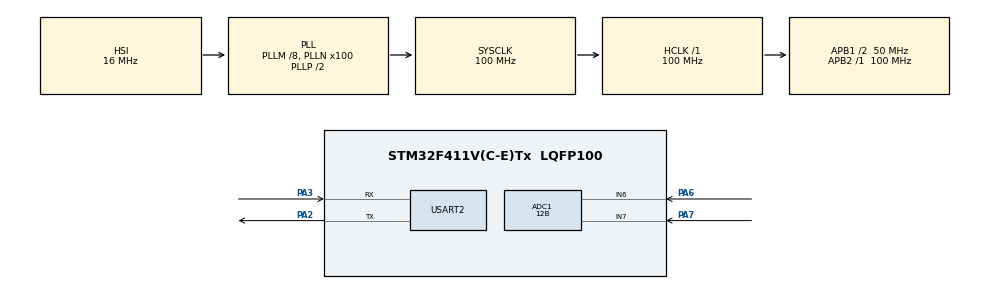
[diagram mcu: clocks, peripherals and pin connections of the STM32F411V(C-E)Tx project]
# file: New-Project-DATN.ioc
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ADC1.Channel-0\#ChannelRegularConversion=ADC_CHANNEL_6
ADC1.ClockPrescaler=ADC_CLOCK_SYNC_PCLK_DIV4
ADC1.ContinuousConvMode=DISABLE
ADC1.DMAContinuousRequests=ENABLE
ADC1.DataAlign=ADC_DATAALIGN_RIGHT
ADC1.DiscontinuousConvMode=DISABLE
ADC1.EOCSelection=ADC_EOC_SINGLE_CONV
ADC1.EnableAnalogWatchDog=false
ADC1.ExternalTrigConv=ADC_SOFTWARE_START
ADC1.ExternalTrigConvEdge=ADC_EXTERNALTRIGCONVEDGE_NONE
ADC1.InjNumberOfConversion=0
ADC1.NbrOfConversion=1
ADC1.NbrOfConversionFlag=1
ADC1.Rank-0\#ChannelRegularConversion=1
ADC1.Resolution=ADC_RESOLUTION_12B
ADC1.SamplingTime-0\#ChannelRegularConversion=ADC_SAMPLETIME_3CYCLES
ADC1.ScanConvMode=ENABLE
ADC1.master=1
Dma.ADC1.0.Direction=DMA_PERIPH_TO_MEMORY
Dma.ADC1.0.FIFOMode=DMA_FIFOMODE_DISABLE
Dma.ADC1.0.Instance=DMA2_Stream0
Dma.ADC1.0.MemDataAlignment=DMA_MDATAALIGN_HALFWORD
Dma.ADC1.0.MemInc=DMA_MINC_ENABLE
Dma.ADC1.0.Mode=DMA_NORMAL
Dma.ADC1.0.PeriphDataAlignment=DMA_PDATAALIGN_HALFWORD
Dma.ADC1.0.PeriphInc=DMA_PINC_DISABLE
Dma.ADC1.0.Priority=DMA_PRIORITY_LOW
Dma.Request0=ADC1
Mcu.Family=STM32F4
Mcu.Name=STM32F411V(C-E)Tx
Mcu.Package=LQFP100
NVIC.ADC_IRQn=true\:0\:0\:false\:false\:true
NVIC.DMA2_Stream0_IRQn=true\:0\:0\:false\:false\:true
NVIC.PriorityGroup=NVIC_PRIORITYGROUP_4
NVIC.TIM2_IRQn=true\:0\:0\:false\:false\:true
NVIC.USART2_IRQn=true\:0\:0\:false\:false\:true
PA13.Mode=Serial_Wire
PA13.Signal=SYS_JTMS-SWDIO
PA14.Mode=Serial_Wire
PA14.Signal=SYS_JTCK-SWCLK
PA2.Mode=Asynchronous
PA2.Signal=USART2_TX
PA3.Mode=Asynchronous
PA3.Signal=USART2_RX
PA6.Signal=ADCx_IN6
PA7.Signal=ADCx_IN7
PH0\ -\ OSC_IN.Mode=HSE-External-Oscillator
PH0\ -\ OSC_IN.Signal=RCC_OSC_IN
PH1\ -\ OSC_OUT.Mode=HSE-External-Oscillator
PH1\ -\ OSC_OUT.Signal=RCC_OSC_OUT
ProjectManager.HeapSize=0x200
ProjectManager.StackSize=0x400
ProjectManager.TargetToolchain=MDK-ARM V5
RCC.48MHZClocksFreq_Value=50000000
RCC.AHBFreq_Value=100000000
RCC.APB1CLKDivider=RCC_HCLK_DIV2
RCC.APB1Freq_Value=50000000
RCC.APB1TimFreq_Value=100000000
RCC.APB2Freq_Value=100000000
RCC.APB2TimFreq_Value=100000000
RCC.CortexFreq_Value=100000000
RCC.HCLKFreq_Value=100000000
RCC.HSE_VALUE=25000000
RCC.HSI_VALUE=16000000
RCC.LSE_VALUE=32768
RCC.PLLM=8
RCC.PLLN=100
RCC.SYSCLKFreq_VALUE=100000000
RCC.SYSCLKSource=RCC_SYSCLKSOURCE_PLLCLK
RCC.VCOOutputFreq_Value=200000000
SH.ADCx_IN6.0=ADC1_IN6,IN6
SH.ADCx_IN7.0=ADC1_IN7,IN7
TIM2.Period=1
TIM2.Prescaler=50
VP_TIM2_VS_ClockSourceINT.Mode=Internal
board=New-Project-DATN

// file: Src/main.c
/**
  ******************************************************************************
  * File Name          : main.c
  * Description        : Main program body
  ******************************************************************************
  *
  * COPYRIGHT(c) 2017 STMicroelectronics
  *
  * Redistribution and use in source and binary forms, with or without modification,
  * are permitted provided that the following conditions are met:
  *   1. Redistributions of source code must retain the above copyright notice,
  *      this list of conditions and the following disclaimer.
  *   2. Redistributions in binary form must reproduce the above copyright notice,
  *      this list of conditions and the following disclaimer in the documentation
  *      and/or other materials provided with the distribution.
  *   3. Neither the name of STMicroelectronics nor the names of its contributors
  *      may be used to endorse or promote products derived from this software
  *      without specific prior written permission.
  *
  * THIS SOFTWARE IS PROVIDED BY THE COPYRIGHT HOLDERS AND CONTRIBUTORS "AS IS"
  * AND ANY EXPRESS OR IMPLIED WARRANTIES, INCLUDING, BUT NOT LIMITED TO, THE
  * IMPLIED WARRANTIES OF MERCHANTABILITY AND FITNESS FOR A PARTICULAR PURPOSE ARE
  * DISCLAIMED. IN NO EVENT SHALL THE COPYRIGHT HOLDER OR CONTRIBUTORS BE LIABLE
  * FOR ANY DIRECT, INDIRECT, INCIDENTAL, SPECIAL, EXEMPLARY, OR CONSEQUENTIAL
  * DAMAGES (INCLUDING, BUT NOT LIMITED TO, PROCUREMENT OF SUBSTITUTE GOODS OR
  * SERVICES; LOSS OF USE, DATA, OR PROFITS; OR BUSINESS INTERRUPTION) HOWEVER
  * CAUSED AND ON ANY THEORY OF LIABILITY, WHETHER IN CONTRACT, STRICT LIABILITY,
  * OR TORT (INCLUDING NEGLIGENCE OR OTHERWISE) ARISING IN ANY WAY OUT OF THE USE
  * OF THIS SOFTWARE, EVEN IF ADVISED OF THE POSSIBILITY OF SUCH DAMAGE.
  *
  ******************************************************************************
  */
#include "main.h"
#include "stm32f4xx_hal.h"
#include "string.h"

ADC_HandleTypeDef hadc1;
DMA_HandleTypeDef hdma_adc1;

TIM_HandleTypeDef htim2;

UART_HandleTypeDef huart2;

/* USER CODE BEGIN PV */
/* Private variables ---------------------------------------------------------*/

/* USER CODE END PV */

void SystemClock_Config(void);
void Error_Handler(void);
static void MX_GPIO_Init(void);
static void MX_DMA_Init(void);
static void MX_ADC1_Init(void);
static void MX_TIM2_Init(void);
static void MX_USART2_UART_Init(void);

/* USER CODE BEGIN PFP */
/* Private function prototypes -----------------------------------------------*/

/* USER CODE END PFP */

/* USER CODE BEGIN 0 */

/*Declare Variables*/
uint16_t ADC_Value[1];
uint8_t soil_humidity;
uint8_t temperature;
uint8_t humidity;
int delayMicro;
GPIO_PinState flagMicro;
int count=0;
char tam[1];
char receive[300];
char each_command[50];
char nhietdo[9];
char doamdat[9];
char nhietdothap[9];
char nhietdocao[9];
char doamdatcao[9];
char doamdatthap[9];
char doamkk[9];
char doamkkthap[10];
char doamkkcao[10];
int high_temperature=0;
int low_temperature=0;
int high_soilhumidity=0;
int low_soilhumidity=0;
int high_humidity=0;
int low_humidity=0;
char highTemperature[]="Set3";
char lowTemperature[]="Set2";
char highSoilHumidity[]="Set6";
char lowSoilHumidity[]="Set5";
char highHumidity[]="Set14";
char lowHumidity[]="Set13";
char watering_on[]="7=1";
char watering_off[]="7=0";
char mode_auto[]="8=1";
char mode_manual[]="8=0";
char set_watering_on[]="Set11";
char set_watering_off[]="Set12";
char set_mode_manual[]="Set8";
char set_mode_auto[]="Set7";
int watering_flag;
char command[100];
int mode;
/*************************************AT Commands*************************************/
char AT_RST[]="AT+RST\r\n";
char AT_CWJAP[]="AT+CWJAP=\"Wireless_plus\",\"sinrc1249\"\r\n";
char AT_CIFSR[]="AT+CIFSR\r\n";
char AT_CIPSEND[]="AT+CIPSEND=0,20\r\n";
char AT_CIPSTART[]="AT+CIPSTART=\"TCP\",\"vuonthongminh.esy.es\",80\r\n";
/*************************************AT Commands*************************************/
/*************************************************************************************/
/*************************************GET REQUEST*************************************/
char GET[]="GET /upload.php?";
char HOST[]=" HTTP/1.1\r\nHost: vuonthongminh.esy.es\r\n\r\n";
char GET_REQUEST[200];
/*************************************GET REQUEST*************************************/
/*************************************************************************************/
/*Declare Functions*/
void delayMicroSeconds(uint32_t delay);
int DHT11_START(GPIO_TypeDef *gpiox,uint16_t gpio_pin,uint8_t data[40]);
uint8_t bits2byte(uint8_t data[8]);
int parse(uint8_t data[40],uint8_t *ptemperature,uint8_t *phumidity);
int DHT11_CONFIRM(GPIO_TypeDef *gpiox,uint16_t gpio_pin,int us,GPIO_PinState level);
int DHT11_READ(GPIO_TypeDef *gpiox,uint16_t gpio_pin, uint8_t *ptemperature,uint8_t *phumidity,uint8_t pdata[40]);
void GPIO_INPUT(GPIO_TypeDef *gpiox,uint16_t gpio_pin);
void GPIO_Output(GPIO_TypeDef *gpiox,uint16_t gpio_pin,GPIO_PinState level);
void collectData(int delay);
void clear_receive(void);
void esp_init(void);
void clear(char data[]);
void getCommand(char data[]);
void getEachCommand(char data[]);
void doCommand(char command[]);
void toggleWatering(void);
void getValue(char command[]);
void sendAllGetRequest(void);
void getAllGetRequest(void);
char *getTemperature(void);
char *getHighTemperature(void);
char *getLowTemperature(void);
char *getSoilHumidity(void);
char *getHighSoilHumidity(void);
char *getLowSoilHumidity(void);
char *getHumidity(void);
char *getLowHumidity(void);
char *getHighHumidity(void);
void autoControlling(int mode);
/* USER CODE END 0 */

int main(void)
{

  /* MCU Configuration----------------------------------------------------------*/

  /* Reset of all peripherals, Initializes the Flash interface and the Systick. */
  HAL_Init();

  /* Configure the system clock */
  SystemClock_Config();

  /* Initialize all configured peripherals */
  MX_GPIO_Init();
  MX_DMA_Init();
  MX_ADC1_Init();
  MX_TIM2_Init();
  MX_USART2_UART_Init();

  /* USER CODE BEGIN 2 */
	HAL_UART_Receive_IT(&huart2,(uint8_t*)tam,1);
	//esp_init();
	mode=1; //Set Mode=Auto
	watering_flag=0;
  /* USER CODE END 2 */
  /* Infinite loop */
  while (1)
  {

  /* USER CODE BEGIN 3 */
			collectData(100);
			clear(GET_REQUEST);
			getAllGetRequest();
			HAL_Delay(1);
			sendAllGetRequest();
			autoControlling(mode);
  }
  /* USER CODE END 3 */

}

/** System Clock Configuration
*/
void SystemClock_Config(void)
{

  RCC_OscInitTypeDef RCC_OscInitStruct;
  RCC_ClkInitTypeDef RCC_ClkInitStruct;

    /**Configure the main internal regulator output voltage
    */
  __HAL_RCC_PWR_CLK_ENABLE();

  __HAL_PWR_VOLTAGESCALING_CONFIG(PWR_REGULATOR_VOLTAGE_SCALE1);

    /**Initializes the CPU, AHB and APB busses clocks
    */
  RCC_OscInitStruct.OscillatorType = RCC_OSCILLATORTYPE_HSI;
  RCC_OscInitStruct.HSIState = RCC_HSI_ON;
  RCC_OscInitStruct.HSICalibrationValue = 16;
  RCC_OscInitStruct.PLL.PLLState = RCC_PLL_ON;
  RCC_OscInitStruct.PLL.PLLSource = RCC_PLLSOURCE_HSI;
  RCC_OscInitStruct.PLL.PLLM = 8;
  RCC_OscInitStruct.PLL.PLLN = 100;
  RCC_OscInitStruct.PLL.PLLP = RCC_PLLP_DIV2;
  RCC_OscInitStruct.PLL.PLLQ = 4;
  if (HAL_RCC_OscConfig(&RCC_OscInitStruct) != HAL_OK)
  {
    Error_Handler();
  }

    /**Initializes the CPU, AHB and APB busses clocks
    */
  RCC_ClkInitStruct.ClockType = RCC_CLOCKTYPE_HCLK|RCC_CLOCKTYPE_SYSCLK
                              |RCC_CLOCKTYPE_PCLK1|RCC_CLOCKTYPE_PCLK2;
  RCC_ClkInitStruct.SYSCLKSource = RCC_SYSCLKSOURCE_PLLCLK;
  RCC_ClkInitStruct.AHBCLKDivider = RCC_SYSCLK_DIV1;
  RCC_ClkInitStruct.APB1CLKDivider = RCC_HCLK_DIV2;
  RCC_ClkInitStruct.APB2CLKDivider = RCC_HCLK_DIV1;

  if (HAL_RCC_ClockConfig(&RCC_ClkInitStruct, FLASH_LATENCY_3) != HAL_OK)
  {
    Error_Handler();
  }

    /**Configure the Systick interrupt time
    */
  HAL_SYSTICK_Config(HAL_RCC_GetHCLKFreq()/1000);

    /**Configure the Systick
    */
  HAL_SYSTICK_CLKSourceConfig(SYSTICK_CLKSOURCE_HCLK);

  /* SysTick_IRQn interrupt configuration */
  HAL_NVIC_SetPriority(SysTick_IRQn, 0, 0);
}

/* ADC1 init function */
static void MX_ADC1_Init(void)
{

  ADC_ChannelConfTypeDef sConfig;

    /**Configure the global features of the ADC (Clock, Resolution, Data Alignment and number of conversion)
    */
  hadc1.Instance = ADC1;
  hadc1.Init.ClockPrescaler = ADC_CLOCK_SYNC_PCLK_DIV4;
  hadc1.Init.Resolution = ADC_RESOLUTION_12B;
  hadc1.Init.ScanConvMode = ENABLE;
  hadc1.Init.ContinuousConvMode = DISABLE;
  hadc1.Init.DiscontinuousConvMode = DISABLE;
  hadc1.Init.ExternalTrigConvEdge = ADC_EXTERNALTRIGCONVEDGE_NONE;
  hadc1.Init.ExternalTrigConv = ADC_SOFTWARE_START;
  hadc1.Init.DataAlign = ADC_DATAALIGN_RIGHT;
  hadc1.Init.NbrOfConversion = 1;
  hadc1.Init.DMAContinuousRequests = ENABLE;
  hadc1.Init.EOCSelection = ADC_EOC_SINGLE_CONV;
  if (HAL_ADC_Init(&hadc1) != HAL_OK)
  {
    Error_Handler();
  }

    /**Configure for the selected ADC regular channel its corresponding rank in the sequencer and its sample time.
    */
  sConfig.Channel = ADC_CHANNEL_6;
  sConfig.Rank = 1;
  sConfig.SamplingTime = ADC_SAMPLETIME_3CYCLES;
  if (HAL_ADC_ConfigChannel(&hadc1, &sConfig) != HAL_OK)
  {
    Error_Handler();
  }

}

/* TIM2 init function */
static void MX_TIM2_Init(void)
{

  TIM_ClockConfigTypeDef sClockSourceConfig;
  TIM_MasterConfigTypeDef sMasterConfig;

  htim2.Instance = TIM2;
  htim2.Init.Prescaler = 50;
  htim2.Init.CounterMode = TIM_COUNTERMODE_UP;
  htim2.Init.Period = 1;
  htim2.Init.ClockDivision = TIM_CLOCKDIVISION_DIV1;
  if (HAL_TIM_Base_Init(&htim2) != HAL_OK)
  {
    Error_Handler();
  }

  sClockSourceConfig.ClockSource = TIM_CLOCKSOURCE_INTERNAL;
  if (HAL_TIM_ConfigClockSource(&htim2, &sClockSourceConfig) != HAL_OK)
  {
    Error_Handler();
  }

  sMasterConfig.MasterOutputTrigger = TIM_TRGO_RESET;
  sMasterConfig.MasterSlaveMode = TIM_MASTERSLAVEMODE_DISABLE;
  if (HAL_TIMEx_MasterConfigSynchronization(&htim2, &sMasterConfig) != HAL_OK)
  {
    Error_Handler();
  }

}

/* USART2 init function */
static void MX_USART2_UART_Init(void)
{

  huart2.Instance = USART2;
  huart2.Init.BaudRate = 115200;
  huart2.Init.WordLength = UART_WORDLENGTH_8B;
  huart2.Init.StopBits = UART_STOPBITS_1;
  huart2.Init.Parity = UART_PARITY_NONE;
  huart2.Init.Mode = UART_MODE_TX_RX;
  huart2.Init.HwFlowCtl = UART_HWCONTROL_NONE;
  huart2.Init.OverSampling = UART_OVERSAMPLING_16;
  if (HAL_UART_Init(&huart2) != HAL_OK)
  {
    Error_Handler();
  }

}

static void MX_DMA_Init(void)
{
  /* DMA controller clock enable */
  __HAL_RCC_DMA2_CLK_ENABLE();

  /* DMA interrupt init */
  /* DMA2_Stream0_IRQn interrupt configuration */
  HAL_NVIC_SetPriority(DMA2_Stream0_IRQn, 0, 0);
  HAL_NVIC_EnableIRQ(DMA2_Stream0_IRQn);

}

/** Configure pins as
        * Analog
        * Input
        * Output
        * EVENT_OUT
        * EXTI
*/
static void MX_GPIO_Init(void)
{

  /* GPIO Ports Clock Enable */
  __HAL_RCC_GPIOH_CLK_ENABLE();
  __HAL_RCC_GPIOA_CLK_ENABLE();

}

/* USER CODE BEGIN 4 */
void autoControlling(int mode)
{
	if (mode) { //kiem tra che do tu dong Auto ?
				if(soil_humidity<=low_soilhumidity){watering_flag=1; toggleWatering(); } //do am nho huong nguong thi bat may bom
				else if(soil_humidity>=high_soilhumidity &&watering_flag==1) {watering_flag=0; toggleWatering();}
			}
}

void getAllGetRequest(void)
{
	int len1=strlen(GET);
	/*Add GET string to GET_REQUEST*/
	for(int i=0;i<len1;i++) GET_REQUEST[i]=GET[i];
	/*Add temperature into a string*/
	len1=strlen(getTemperature());
	int len2=strlen(GET_REQUEST);
	int j=0;
	for(int i=len2;i<(len1+len2);i++) GET_REQUEST[i]=nhietdo[j++];
	GET_REQUEST[len1+len2]='&';//Add '&' symbol
	/*Add soil-humidity to GET_REQUEST*/
	j=0;
	len1=strlen(getSoilHumidity());
	len2=strlen(GET_REQUEST);
	for(int i=len2;i<(len1+len2);i++) GET_REQUEST[i]=doamdat[j++];
	GET_REQUEST[len1+len2]='&';//Add '&' symbol
	/*Add humidity to GET_REQUEST*/
	j=0;
	len1=strlen(getHumidity());
	len2=strlen(GET_REQUEST);
	for(int i=len2;i<(len1+len2);i++) GET_REQUEST[i]=doamkk[j++];
	GET_REQUEST[len1+len2]='&';//Add '&' symbol
	/*Add high-tempe to GET_REQUEST*/
	j=0;
	len1=strlen(getHighTemperature());
	len2=strlen(GET_REQUEST);
	for(int i=len2;i<(len1+len2);i++) GET_REQUEST[i]=nhietdocao[j++];
	GET_REQUEST[len1+len2]='&';//Add '&' symbol
	/*Add low-tempe to GET_REQUEST*/
	j=0;
	len1=strlen(getLowTemperature());
	len2=strlen(GET_REQUEST);
	for(int i=len2;i<(len1+len2);i++) GET_REQUEST[i]=nhietdothap[j++];
	GET_REQUEST[len1+len2]='&';//Add '&' symbol
	/*Add high-soil-moisture to GET_REQUEST*/
	j=0;
	len1=strlen(getHighSoilHumidity());
	len2=strlen(GET_REQUEST);
	for(int i=len2;i<(len1+len2);i++) GET_REQUEST[i]=doamdatcao[j++];
	GET_REQUEST[len1+len2]='&';//Add '&' symbol
	/*Add low-soil-moisture to GET_REQUEST*/
	j=0;
	len1=strlen(getLowSoilHumidity());
	len2=strlen(GET_REQUEST);
	for(int i=len2;i<(len1+len2);i++) GET_REQUEST[i]=doamdatthap[j++];
	GET_REQUEST[len1+len2]='&';//Add '&' symbol
	/*Add high-moisture to GET_REQUEST*/
	j=0;
	len1=strlen(getHighHumidity());
	len2=strlen(GET_REQUEST);
	for(int i=len2;i<(len1+len2);i++) GET_REQUEST[i]=doamkkcao[j++];
	GET_REQUEST[len1+len2]='&';//Add '&' symbol
	/*Add low-moisture to GET_REQUEST*/
	j=0;
	len1=strlen(getLowHumidity());
	len2=strlen(GET_REQUEST);
	for(int i=len2;i<(len1+len2);i++) GET_REQUEST[i]=doamkkthap[j++];
	GET_REQUEST[len1+len2]='&';//Add '&' symbol
	/*Add watering status to GET_REQUEST*/
	j=0;
	len2=strlen(GET_REQUEST);
	if(watering_flag){
		len1=strlen(watering_on);
		for(int i=len2;i<(len1+len2);i++) GET_REQUEST[i]=watering_on[j++];
	}
	else
	{
		len1=strlen(watering_off);
		for(int i=len2;i<(len1+len2);i++) GET_REQUEST[i]=watering_off[j++];
	}
	GET_REQUEST[len1+len2]='&';//Add '&' symbol
	/*Add mode to GET_REQUEST*/
	j=0;
	len2=strlen(GET_REQUEST);
	if(mode){
		len1=strlen(mode_auto);
		for(int i=len2;i<(len1+len2);i++) GET_REQUEST[i]=mode_auto[j++];
	}
	else
	{
		len1=strlen(mode_manual);
		for(int i=len2;i<(len1+len2);i++) GET_REQUEST[i]=mode_manual[j++];
	}

	/*Add HOST*/
	j=0;
	len1=strlen(HOST);
	len2=strlen(GET_REQUEST);
	for(int i=len2;i<(len1+len2);i++) GET_REQUEST[i]=HOST[j++];

	GET_REQUEST[len1+len2]='\0';

}

/*Ham chuyen nhiet do sang dang chuoi, gui den client*/
/*Chuoi gui di co dang: 1=xxx voi xxx la 3 so nguyen*/
char *getTemperature(void)
{

	nhietdo[0]='1';
	nhietdo[1]='=';
	nhietdo[2]=(char)(temperature/100)+'0'; //lay hang tram chuyen sang chuoi
	nhietdo[3]=(char)(temperature/10%10)+'0';//lay hang chuc chuyen sang chuoi
	nhietdo[4]=(char)(temperature%10)+'0';//lay hang don vi chuen sang chuoi
	return (char *)nhietdo;
}

/*Ham nay chuyen do am sang dang chuoi*/
/*Chuoi gui di co dang: 4=xxx voi xxx la 3 so nguyen*/
char *getSoilHumidity(void)
{

	doamdat[0]='4';
	doamdat[1]='=';
	doamdat[2]=(char)(soil_humidity/100)+'0';
	doamdat[3]=(char)(soil_humidity/10%10)+'0';
	doamdat[4]=(char)(soil_humidity%10)+'0';
	return (char *)doamdat;
}

/*Ham lay nhiet do nguong cao chuyen sang chuoi*/
/*Chuoi gui di co dang: 3=xxx voi xxx la 3 so nguyen*/
char *getHighTemperature(void)
{

	nhietdocao[0]='3';
	nhietdocao[1]='=';
	nhietdocao[2]=(char)(high_temperature/100)+'0';
	nhietdocao[3]=(char)(high_temperature/10%10)+'0';
	nhietdocao[4]=(char)(high_temperature%10)+'0';
	return (char *)nhietdocao;
}

/*Ham lay nhiet do nguong thap chuyen sang chuoi*/
/*Chuoi gui di co dang: 2=xxx voi xxx la 3 so nguyen*/
char *getLowTemperature(void)
{
	nhietdothap[0]='2';
	nhietdothap[1]='=';
	nhietdothap[2]=(char)(low_temperature/100)+'0';
	nhietdothap[3]=(char)(low_temperature/10%10)+'0';
	nhietdothap[4]=(char)(low_temperature%10)+'0';
	return (char *)nhietdothap;
}

/*Ham lay do am nguong cao chuyen sang chuoi*/
/*Chuoi gui di co dang: 6==xxx voi xxx la 3 so nguyen*/
char *getHighSoilHumidity(void)
{
	doamdatcao[0]='6';
	doamdatcao[1]='=';
	doamdatcao[2]=(char)(high_soilhumidity/100)+'0';
	doamdatcao[3]=(char)(high_soilhumidity/10%10)+'0';
	doamdatcao[4]=(char)(high_soilhumidity%10)+'0';
	return (char *)doamdatcao;
}

/*Ham lay do am nguong thap chuyen sang chuoi*/
/*Chuoi gui di co dang: 5==xxx voi xxx la 3 so nguyen*/
char *getLowSoilHumidity(void)
{
	doamdatthap[0]='5';
	doamdatthap[1]='=';
	doamdatthap[2]=(char)(low_soilhumidity/100)+'0';
	doamdatthap[3]=(char)(low_soilhumidity/10%10)+'0';
	doamdatthap[4]=(char)(low_soilhumidity%10)+'0';
	return (char*)doamdatthap;
}
char *getHumidity(void)
{
	doamkk[0]='9';
	doamkk[1]='=';
	doamkk[2]=(char)(humidity/100)+'0';
	doamkk[3]=(char)(humidity/10%10)+'0';
	doamkk[4]=(char)(humidity%10)+'0';
	return (char*)doamkk;
}
char *getLowHumidity(void)
{
	doamkkthap[0]='1';
	doamkkthap[1]='0';
	doamkkthap[2]='=';
	doamkkthap[3]=(char)(low_humidity/100)+'0';
	doamkkthap[4]=(char)(low_humidity/10%10)+'0';
	doamkkthap[5]=(char)(low_humidity%10)+'0';
	return (char*)doamkkthap;
}
char *getHighHumidity(void)
{
	doamkkcao[0]='1';
	doamkkcao[1]='1';
	doamkkcao[2]='=';
	doamkkcao[3]=(char)(high_humidity/100)+'0';
	doamkkcao[4]=(char)(high_humidity/10%10)+'0';
	doamkkcao[5]=(char)(high_humidity%10)+'0';
	return (char*)doamkkcao;
}

void sendAllGetRequest(void)
{
	/*Connect to Website*/
	HAL_Delay(10);
	clear_receive();
	int len=strlen(AT_CIPSTART);
	HAL_UART_Transmit_IT(&huart2,(uint8_t *)AT_CIPSTART,len);
	HAL_Delay(200);

	/*Send length of bytes will be sent*/
	clear_receive();
	len=strlen("AT+CIPSEND=120\r\n");
	HAL_UART_Transmit_IT(&huart2,(uint8_t *)"AT+CIPSEND=120\r\n",len);
	HAL_Delay(200);
	clear_receive();

	/*Send GET Request*/
	len=strlen(GET_REQUEST);
	HAL_UART_Transmit_IT(&huart2,(uint8_t *)GET_REQUEST,len);

	/*Close connection*/
	len=strlen("AT+CIPCLOSE\r\n");
	HAL_UART_Transmit_IT(&huart2,(uint8_t *)"AT+CIPCLOSE\r\n",len);
}

/*Tach noi dung sau ky tu : dua vao bien command*/
void getCommand(char data[])
{
	clear(command);
	int len=strlen(data);
	int j=0,start=0,end=0;
	for(int i=0;i<len;i++)
	{
		if(data[i]=='{') start=i+1;
		else if(data[i]=='}') end=i-1;
	}
	for(int i=start;i<=end;i++) command[j++]=data[i];

}
/*Ham thuc thi lenh tu bien command*/
void doCommand(char command[])
{
		if(strcmp(command,set_watering_on)==0) {watering_flag=1; toggleWatering();}
		else if(strcmp(command,set_watering_off)==0) {watering_flag=0; toggleWatering();}
		else if(strcmp(command,set_mode_auto)==0) {mode=1;}
		else if(strcmp(command,set_mode_manual)==0) {mode=0;}
		/**/
		getValue(command);
}
void getEachCommand(char data[])
{
	int len=strlen(data);
	int start=0;
	int j=0;
	int l=0;
	for(int i=0;i<len;i++)
	{
		if(data[i]==';')
		{
			//for(int a=0;a<100000000;a++){}//For delay purpose
			clear(each_command); j=0;
			for(int k=start;k<i;k++) each_command[j++]=data[k];
			doCommand(each_command);
			start=i+1;
		}

	}
}
/*Ham tach gia tri */
void getValue(char command[])
{
	int len=strlen(command);
	char tam[len];
	int vitri=0;
	for(int i=0;i<len;i++) tam[i]=0; //Clear tam[]
	for(int i=0;i<len;i++) if(command[i]=='=') {vitri=i-1;break;} //Tim vi tri truoc ky tu '='
	for(int i=0;i<=vitri;i++) tam[i]=command[i];
	/*Lay gia tri nhiet do va do am dat*/
	if(strcmp(tam,highTemperature)==0)
	{
		int count=vitri+2;//Lay vi tri dau tien cua so
		high_temperature=(command[count++]-'0')*100;
		high_temperature+=(command[count++]-'0')*10;
		high_temperature+=(command[count]-'0');
	}
	else if(strcmp(tam,lowTemperature)==0)
	{
		int count=vitri+2;
		low_temperature=(command[count++]-'0')*100;
		low_temperature+=(command[count++]-'0')*10;
		low_temperature+=(command[count]-'0');
	}
	else if(strcmp(tam,highSoilHumidity)==0)
	{
		int count=vitri+2;
		high_soilhumidity=(command[count++]-'0')*100;
		high_soilhumidity+=(command[count++]-'0')*10;
		high_soilhumidity+=(command[count]-'0');
	}
	else if(strcmp(tam,lowSoilHumidity)==0)
	{
		int count=vitri+2;
		low_soilhumidity=(command[count++]-'0')*100;
		low_soilhumidity+=(command[count++]-'0')*10;
		low_soilhumidity+=(command[count]-'0');
	}
	else if(strcmp(tam,lowHumidity)==0)
	{
		int count=vitri+2;
		low_humidity=(command[count++]-'0')*100;
		low_humidity+=(command[count++]-'0')*10;
		low_humidity+=(command[count]-'0');
	}
	else if(strcmp(tam,highHumidity)==0)
	{
		int count=vitri+2;
		high_humidity=(command[count++]-'0')*100;
		high_humidity+=(command[count++]-'0')*10;
		high_humidity+=(command[count]-'0');
	}
}
/*Ham bat tat may bom dua tren wa	tering_flag*/
void toggleWatering(void)
{
	if(watering_flag==0) {HAL_GPIO_WritePin(GPIOD,GPIO_PIN_14,0);
		HAL_GPIO_WritePin(GPIOC,GPIO_PIN_4,1);
	} //Tat may bom
	else {HAL_GPIO_WritePin(GPIOD,GPIO_PIN_14,1);
		HAL_GPIO_WritePin(GPIOC,GPIO_PIN_4,GPIO_PIN_RESET);
	}//Bat may bom
}

void HAL_UART_RxCpltCallback(UART_HandleTypeDef *huart)
{
	if(huart->Instance==huart2.Instance)
	{
		if(count>=280) clear_receive();
		receive[count++]=tam[0];
		if(tam[0]=='}') { getCommand(receive); clear_receive(); getEachCommand(command); clear(command);}
		HAL_UART_Receive_IT(&huart2,(uint8_t*)tam,1);
	}
}
/*Ham xoa bien receive de nhan chuoi moi*/
void clear_receive(void)
{
	for(int i=0;i<100;i++)
	{
		receive[i]=0;
	}
	count=0;
}
void clear(char data[])
{
	int len=strlen(data);
	for(int i=0;i<len;i++) data[i]=0;
}
/*Ham khoi tao thiet lap ESP8266*/
void esp_init(void)
{
	int len=0;
	/*Reset ESP*/
	clear_receive();
	len=strlen(AT_RST);
	HAL_UART_Transmit_IT(&huart2,(uint8_t *)AT_RST,len);
	HAL_Delay(3000);

	/*Dang nhap vao SSID,Password*/

	clear_receive(); //38 //44
	len=strlen(AT_CWJAP);
	HAL_UART_Transmit_IT(&huart2,(uint8_t *)AT_CWJAP,len);
	HAL_Delay(8000);

	clear_receive();

}
void collectData(int delay)
{
	HAL_ADC_Start_DMA(&hadc1,(uint32_t *)ADC_Value,1);
	DHT11_READ(GPIOA,GPIO_PIN_1,&temperature,&humidity,NULL);
	HAL_Delay(delay);
}

void GPIO_Output(GPIO_TypeDef *gpiox,uint16_t gpio_pin,GPIO_PinState level)
{
	GPIO_InitTypeDef GPIO_InitStruct;

  /* GPIO Ports Clock Enable */
  __HAL_RCC_GPIOH_CLK_ENABLE();
	if(gpiox==GPIOA) __HAL_RCC_GPIOA_CLK_ENABLE();
	else if(gpiox==GPIOB) __HAL_RCC_GPIOB_CLK_ENABLE();
	else if(gpiox==GPIOC) __HAL_RCC_GPIOC_CLK_ENABLE();
	else if(gpiox==GPIOD) __HAL_RCC_GPIOD_CLK_ENABLE();
	else if(gpiox==GPIOE) __HAL_RCC_GPIOE_CLK_ENABLE();
  /*Configure GPIO pin Output Level */
  HAL_GPIO_WritePin(gpiox, gpio_pin, level);
  /*Configure GPIO pin : PA1 */
  GPIO_InitStruct.Pin = gpio_pin;
  GPIO_InitStruct.Mode = GPIO_MODE_OUTPUT_PP;
  GPIO_InitStruct.Pull = GPIO_NOPULL;
  GPIO_InitStruct.Speed = GPIO_SPEED_FREQ_LOW;
  HAL_GPIO_Init(gpiox, &GPIO_InitStruct);
}
void GPIO_INPUT(GPIO_TypeDef *gpiox,uint16_t gpio_pin)
{
	 GPIO_InitTypeDef GPIO_InitStruct;
  /* GPIO Ports Clock Enable */
  __HAL_RCC_GPIOH_CLK_ENABLE();
	if(gpiox==GPIOA) __HAL_RCC_GPIOA_CLK_ENABLE();
	else if(gpiox==GPIOB) __HAL_RCC_GPIOB_CLK_ENABLE();
	else if(gpiox==GPIOC) __HAL_RCC_GPIOC_CLK_ENABLE();
	else if(gpiox==GPIOD) __HAL_RCC_GPIOD_CLK_ENABLE();
	else if(gpiox==GPIOE) __HAL_RCC_GPIOE_CLK_ENABLE();

  /*Configure GPIO pin : PA1 */
  GPIO_InitStruct.Pin = gpio_pin;
  GPIO_InitStruct.Mode = GPIO_MODE_INPUT;
  GPIO_InitStruct.Pull = GPIO_NOPULL;
  HAL_GPIO_Init(GPIOA, &GPIO_InitStruct);

}

int parse(uint8_t data[40],uint8_t *ptemperature,uint8_t *phumidity)
{
	uint8_t humidity = bits2byte(data);
  uint8_t humidity2 = bits2byte(data + 8);
  uint8_t temperature = bits2byte(data + 16);
  uint8_t temperature2 = bits2byte(data + 24);
  uint8_t check = bits2byte(data + 32);
  uint8_t expect = humidity + humidity2 + temperature + temperature2;
  if (check != expect) return 105;
  *ptemperature = temperature;
  *phumidity = humidity;
  return 0;
}

uint8_t bits2byte(uint8_t data[8])
{
	uint8_t v=0;
	for(int i=0;i<8;i++)
	{
		v+=data[i] << (7-i);
	}
	return v;
}
int DHT11_CONFIRM(GPIO_TypeDef *gpiox,uint16_t gpio_pin,int us,GPIO_PinState level)
{
	int count=us/10+1;
	GPIO_PinState ok=0;
	for (int i = 0; i < count; i++) {
		if (HAL_GPIO_ReadPin(gpiox,gpio_pin) != level) {
			ok=1;
			break;
		}
  delayMicroSeconds(10);
  }
	if(!ok) return -1;
	return 0;
}

int DHT11_START(GPIO_TypeDef *gpiox,uint16_t gpio_pin,uint8_t data[40])
{
	memset(data,0,40);
	GPIO_Output(gpiox,gpio_pin,1);
	HAL_GPIO_WritePin(gpiox,gpio_pin,0);
	HAL_Delay(20);
	HAL_GPIO_WritePin(gpiox,gpio_pin,1);
	delayMicroSeconds(30);
	GPIO_INPUT(gpiox,gpio_pin);

	if(DHT11_CONFIRM(gpiox,gpio_pin,80,0)) return 100;
	if(DHT11_CONFIRM(gpiox,gpio_pin,80,1)) return 101;

	for(int j=0;j<40;j++)
	{
		if(DHT11_CONFIRM(gpiox,gpio_pin,50,0)) return 102;
		GPIO_PinState ok=0;
		int tick=0;
		for(int i=0;i<8;i++,tick++)
		{
			if(HAL_GPIO_ReadPin(gpiox,gpio_pin)!=1)
			{
				ok=1;
				break;
			}
			delayMicroSeconds(10);
		}
		if(!ok) return 103;
		data[j]=(tick>3 ? 1:0);
	}
	if(DHT11_CONFIRM(gpiox,gpio_pin,50,0)) return 104;
	return 0;
}

int DHT11_READ(GPIO_TypeDef *gpiox,uint16_t gpio_pin, uint8_t *ptemperature,uint8_t *phumidity,uint8_t pdata[40])
{
	int ret=0;
	uint8_t data[40]={0};
	if((ret=DHT11_START(gpiox,gpio_pin,data))!=0) return ret;

	uint8_t temperature=0,humidity=0;
	if((ret=parse(data,&temperature,&humidity))!=0) return ret;

	if(pdata){memcpy(pdata,data,40);}
	if(ptemperature) *ptemperature=temperature;
	if(phumidity) *phumidity=humidity;
	return ret;
}

void delayMicroSeconds(uint32_t delay)
{
	delayMicro=delay;
	delayMicro/=2;
	HAL_TIM_Base_Start_IT(&htim2);
	for(int i=0;i<delayMicro;i++)
		if(flagMicro) {flagMicro=0; break;}
}

void HAL_TIM_PeriodElapsedCallback(TIM_HandleTypeDef *htim)
{
	if(htim2.Instance==htim->Instance)
	{
		delayMicro--;
		if(delayMicro==0){flagMicro=1; HAL_TIM_Base_Stop_IT(htim);}
	}
}
/*Ham ngat ADC, sau khi xu ly ADC bang DMA xong thi nhay vao ham ngat nay de xu ly*/
void HAL_ADC_ConvCpltCallback(ADC_HandleTypeDef* hadc)
{
	if(hadc->Instance==hadc1.Instance)
		//Chuyen doi ADC sang do am/
		soil_humidity=100-(ADC_Value[0])*0.02442;
		//getSoilHumidity();//Chuyen doi do am sang dang chuoi
	}

/* USER CODE END 4 */

void Error_Handler(void)
{
  while(1)
  {
  }
}

/************************ (C) COPYRIGHT STMicroelectronics *****END OF FILE****/
